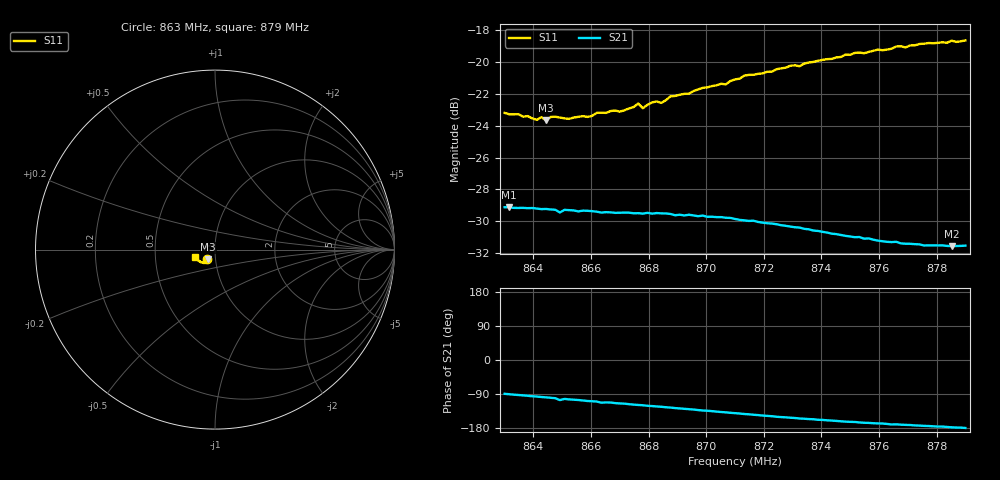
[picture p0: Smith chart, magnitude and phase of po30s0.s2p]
# HZ S RI R 50
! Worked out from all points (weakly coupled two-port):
!   101 points, 863 MHz to 879 MHz, reference 50 ohm
!   highest |S21| = -29.11 dB at 863.16 MHz (marker M1); lowest = -31.6 dB at 878.52 MHz (marker M2)
!   lowest |S11| = -23.7 dB at 864.44 MHz (marker M3), VSWR 1.14, Z = 46.1 - j4.96 ohm
!   |S11| at or under -10 dB: start of sweep to end of sweep
!   S12 and S22 are empty: the file has one direction only
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8.63e8  -0.0437 -0.0536  0.000503 -0.035  0 0  0 0
8.6316e8  -0.0424 -0.0538  -0.0002 -0.035  0 0  0 0
8.6412e8  -0.0382 -0.0535  -0.00388 -0.0345  0 0  0 0
8.6428e8  -0.0384 -0.055  -0.00461 -0.0342  0 0  0 0
8.6444e8  -0.0376 -0.0536  -0.00515 -0.0342  0 0  0 0
8.646e8  -0.0381 -0.0553  -0.00581 -0.034  0 0  0 0
8.6492e8  -0.0371 -0.0557  -0.00918 -0.0324  0 0  0 0
8.6508e8  -0.0354 -0.0563  -0.00754 -0.0335  0 0  0 0
8.6572e8  -0.0349 -0.0579  -0.00989 -0.0327  0 0  0 0
8.67e8  -0.0346 -0.0606  -0.014 -0.0306  0 0  0 0
8.6764e8  -0.0367 -0.0643  -0.0161 -0.0294  0 0  0 0
8.678e8  -0.035 -0.0624  -0.0164 -0.0291  0 0  0 0
8.6812e8  -0.0364 -0.0651  -0.0175 -0.0285  0 0  0 0
8.6844e8  -0.0365 -0.0647  -0.0185 -0.028  0 0  0 0
8.6876e8  -0.0382 -0.0679  -0.0194 -0.0272  0 0  0 0
8.7068e8  -0.0451 -0.072  -0.0242 -0.0217  0 0  0 0
8.71e8  -0.0487 -0.0734  -0.0248 -0.0206  0 0  0 0
8.7372e8  -0.0676 -0.0735  -0.0271 -0.0119  0 0  0 0
8.7516e8  -0.0812 -0.069  -0.0271 -0.008  0 0  0 0
8.7644e8  -0.0916 -0.0607  -0.0268 -0.00466  0 0  0 0
8.7852e8  -0.1072 -0.0456  -0.0264 -0.00111  0 0  0 0
8.79e8  -0.1099 -0.039  -0.0265 -0.000282  0 0  0 0
